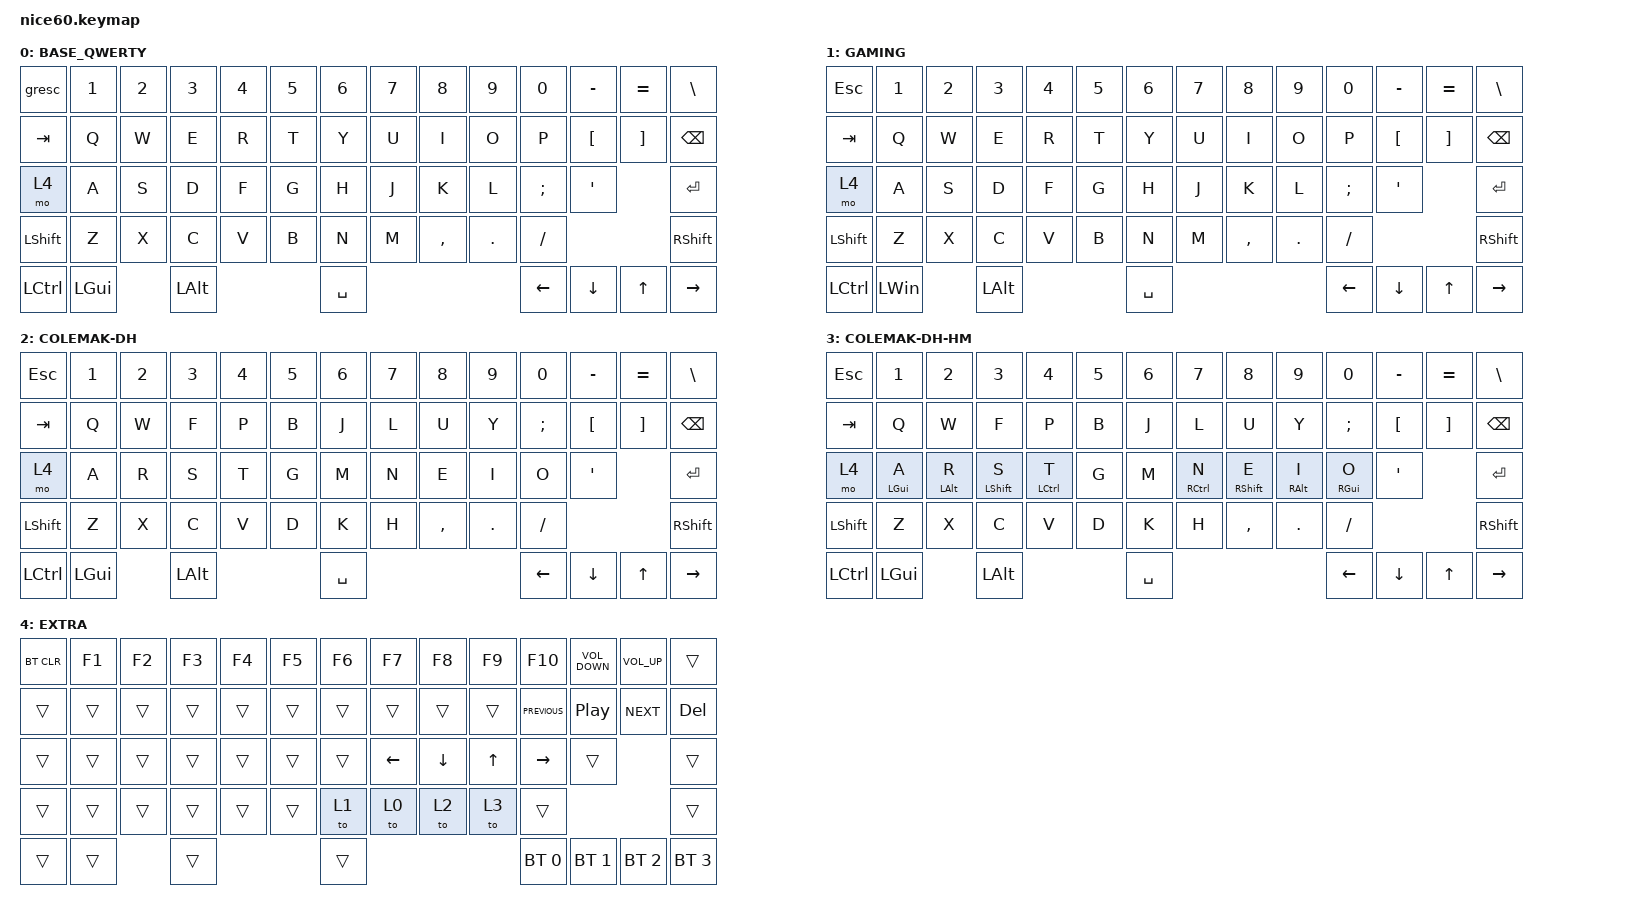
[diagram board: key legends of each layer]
/*
 * Copyright (c) 2021 Nick Winans
 *
 * SPDX-License-Identifier: MIT
 */

#include <dt-bindings/zmk/reset.h>
#include <behaviors.dtsi>
#include <dt-bindings/zmk/bt.h>
#include <dt-bindings/zmk/keys.h>

/ {
    behaviors {
        hmr: hmr {
            compatible = "zmk,behavior-hold-tap";
            label = "HMR";
            bindings = <&kp>, <&kp>;

            #binding-cells = <2>;
            tapping-term-ms = <280>;
            quick-tap-ms = <175>;
            flavor = "balanced";
            hold-trigger-on-release;
            hold-trigger-key-positions = <15 29 42 43 30 16 17 31 44 45 32 18 19 33 46 5 4 3 2 1 0 14 28 41 53 54 55 56 57 58 59 60 52 40 27 13 12 11 10 9 8 7 6>;
        };

        hml: hml {
            compatible = "zmk,behavior-hold-tap";
            label = "HML";
            #binding-cells = <2>;
            bindings = <&kp>, <&kp>;

            tapping-term-ms = <280>;
            quick-tap-ms = <175>;
            flavor = "balanced";
            hold-trigger-key-positions = <47 48 49 50 51 34 20 21 35 36 22 23 37 38 24 25 39 56 55 54 53 41 28 14 0 1 4 3 2 5 6 7 8 9 10 11 13 12 26 27 40 52 58 57 59 60>;
            hold-trigger-on-release;
        };
    };

    keymap {
        compatible = "zmk,keymap";

        BASE_QWERTY {
            // ------------------------------------------------------------------------------------------
            // | ESC |  1  |  2  |  3  |  4  |  5  |  6  |  7  |  8  |  9  |  0  |  -  |  =  |   BKSP   |
            // | TAB  |  Q  |  W  |  E  |  R  |  T  |  Y  |  U  |  I  |  O  |  P  |  [  |  ]  |   "|"   |
            // | CAPS  |  A  |  S  |  D  |  F  |  G  |  H  |  J  |  K  |  L  |  ;  |  '  |     ENTER    |
            // |  SHIFT  |  Z  |  X  |  C  |  V  |  B  |  N  |  M  |  ,  |  .  |  /  |      SHIFT       |
            // |  CTL  |  WIN  |  ALT  |            SPACE              |  ALT  |  WIN  |  MO(1) |  CTL  |
            // ------------------------------------------------------------------------------------------

            bindings = <
&gresc     &kp N1    &kp N2  &kp N3    &kp N4  &kp N5  &kp N6     &kp N7  &kp N8     &kp N9   &kp N0          &kp MINUS       &kp EQUAL     &kp BACKSLASH
&kp TAB    &kp Q     &kp W   &kp E     &kp R   &kp T   &kp Y      &kp U   &kp I      &kp O    &kp P           &kp LBKT        &kp RBKT      &kp BACKSPACE
&mo 4      &kp A     &kp S   &kp D     &kp F   &kp G   &kp H      &kp J   &kp K      &kp L    &kp SEMICOLON   &kp SQT                       &kp RET
&kp LSHFT  &kp Z     &kp X   &kp C     &kp V   &kp B   &kp N      &kp M   &kp COMMA  &kp DOT  &kp FSLH                                      &kp RSHFT
&kp LCTRL  &kp LGUI          &kp LALT                  &kp SPACE                              &kp LEFT_ARROW  &kp DOWN_ARROW  &kp UP_ARROW  &kp RIGHT
            >;
        };

        GAMING {
            bindings = <
&kp ESC    &kp N1        &kp N2  &kp N3        &kp N4  &kp N5  &kp N6     &kp N7  &kp N8     &kp N9   &kp N0          &kp MINUS       &kp EQUAL     &kp BACKSLASH
&kp TAB    &kp Q         &kp W   &kp E         &kp R   &kp T   &kp Y      &kp U   &kp I      &kp O    &kp P           &kp LBKT        &kp RBKT      &kp BACKSPACE
&mo 4      &kp A         &kp S   &kp D         &kp F   &kp G   &kp H      &kp J   &kp K      &kp L    &kp SEMI        &kp APOS                      &kp ENTER
&kp LSHFT  &kp Z         &kp X   &kp C         &kp V   &kp B   &kp N      &kp M   &kp COMMA  &kp DOT  &kp FSLH                                      &kp RSHFT
&kp LCTRL  &kp LEFT_WIN          &kp LEFT_ALT                  &kp SPACE                              &kp LEFT_ARROW  &kp DOWN_ARROW  &kp UP_ARROW  &kp RIGHT
            >;
        };

        COLEMAK-DH {
            bindings = <
&kp ESC    &kp N1        &kp N2  &kp N3        &kp N4  &kp N5  &kp N6     &kp N7  &kp N8     &kp N9   &kp N0          &kp MINUS       &kp EQUAL     &kp BACKSLASH
&kp TAB    &kp Q         &kp W   &kp F         &kp P   &kp B   &kp J      &kp L   &kp U      &kp Y    &kp SEMI        &kp LBKT        &kp RBKT      &kp BACKSPACE
&mo 4      &kp A         &kp R   &kp S         &kp T   &kp G   &kp M      &kp N   &kp E      &kp I    &kp O           &kp APOS                      &kp ENTER
&kp LSHFT  &kp Z         &kp X   &kp C         &kp V   &kp D   &kp K      &kp H   &kp COMMA  &kp DOT  &kp FSLH                                      &kp RSHFT
&kp LCTRL  &kp LEFT_GUI          &kp LEFT_ALT                  &kp SPACE                              &kp LEFT_ARROW  &kp DOWN_ARROW  &kp UP_ARROW  &kp RIGHT
            >;
        };

        COLEMAK-DH-HM {
            bindings = <
&kp ESC    &kp N1           &kp N2           &kp N3         &kp N4        &kp N5  &kp N6     &kp N7        &kp N8              &kp N9            &kp N0            &kp MINUS       &kp EQUAL     &kp BACKSLASH
&kp TAB    &kp Q            &kp W            &kp F          &kp P         &kp B   &kp J      &kp L         &kp U               &kp Y             &kp SEMI          &kp LBKT        &kp RBKT      &kp BACKSPACE
&mo 4      &hml LEFT_GUI A  &hml LEFT_ALT R  &hml LSHIFT S  &hml LCTRL T  &kp G   &kp M      &hmr RCTRL N  &hmr RIGHT_SHIFT E  &hmr RIGHT_ALT I  &hmr RIGHT_GUI O  &kp APOS                      &kp ENTER
&kp LSHFT  &kp Z            &kp X            &kp C          &kp V         &kp D   &kp K      &kp H         &kp COMMA           &kp DOT           &kp FSLH                                        &kp RSHFT
&kp LCTRL  &kp LEFT_GUI                      &kp LEFT_ALT                         &kp SPACE                                                      &kp LEFT_ARROW    &kp DOWN_ARROW  &kp UP_ARROW  &kp RIGHT
            >;
        };

        EXTRA {
            bindings = <
&bt BT_CLR  &kp F1  &kp F2  &kp F3  &kp F4  &kp F5  &kp F6  &kp F7    &kp F8    &kp F9        &kp F10         &kp C_VOLUME_DOWN  &kp C_VOLUME_UP  &trans
&trans      &trans  &trans  &trans  &trans  &trans  &trans  &trans    &trans    &trans        &kp C_PREVIOUS  &kp C_PLAY_PAUSE   &kp C_NEXT       &kp DEL
&trans      &trans  &trans  &trans  &trans  &trans  &trans  &kp LEFT  &kp DOWN  &kp UP_ARROW  &kp RIGHT       &trans                              &trans
&trans      &trans  &trans  &trans  &trans  &trans  &to 1   &to 0     &to 2     &to 3         &trans                                              &trans
&trans      &trans          &trans                  &trans                                    &bt BT_SEL 0    &bt BT_SEL 1       &bt BT_SEL 2     &bt BT_SEL 3
            >;
        };
    };
};
